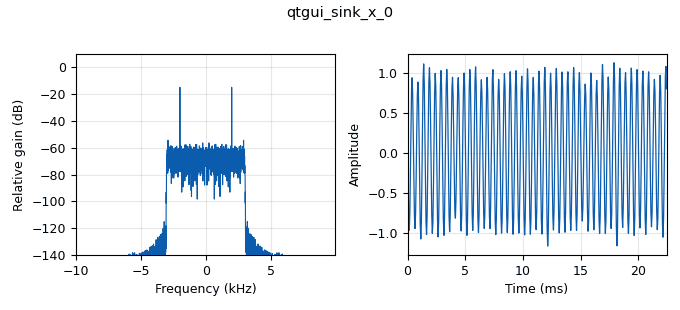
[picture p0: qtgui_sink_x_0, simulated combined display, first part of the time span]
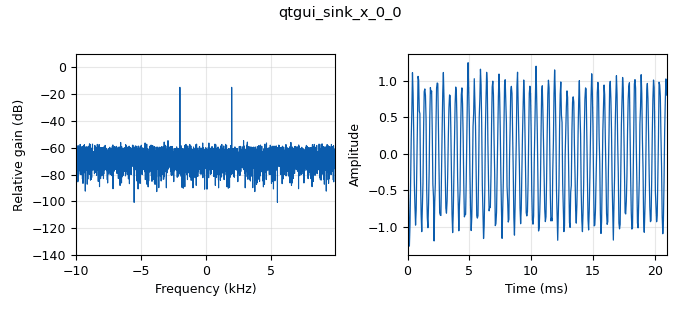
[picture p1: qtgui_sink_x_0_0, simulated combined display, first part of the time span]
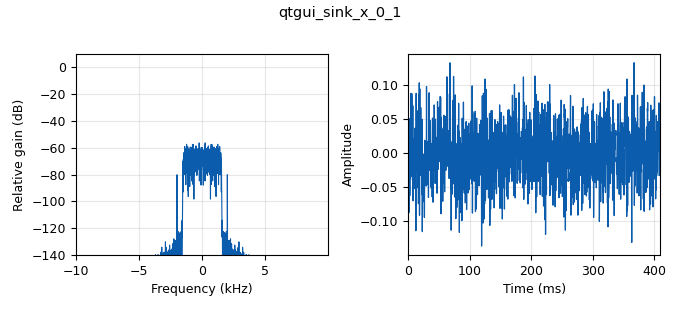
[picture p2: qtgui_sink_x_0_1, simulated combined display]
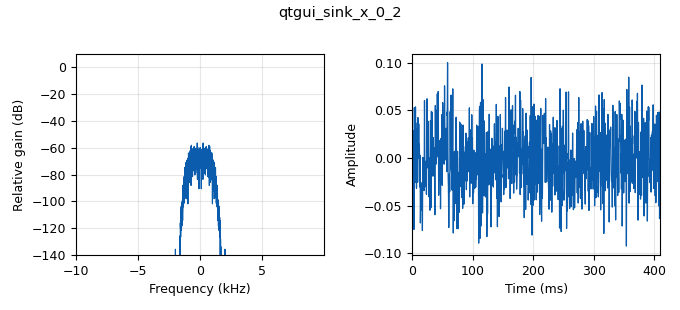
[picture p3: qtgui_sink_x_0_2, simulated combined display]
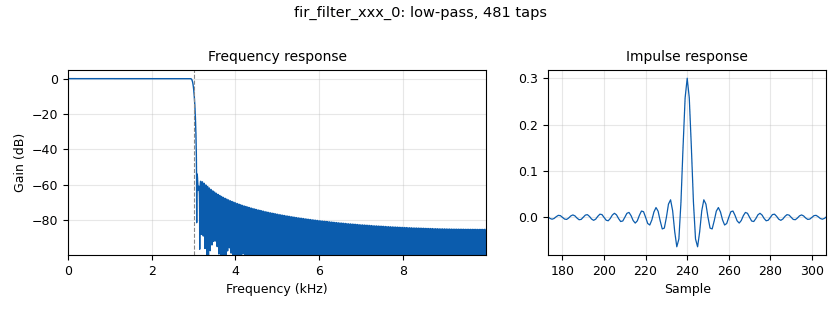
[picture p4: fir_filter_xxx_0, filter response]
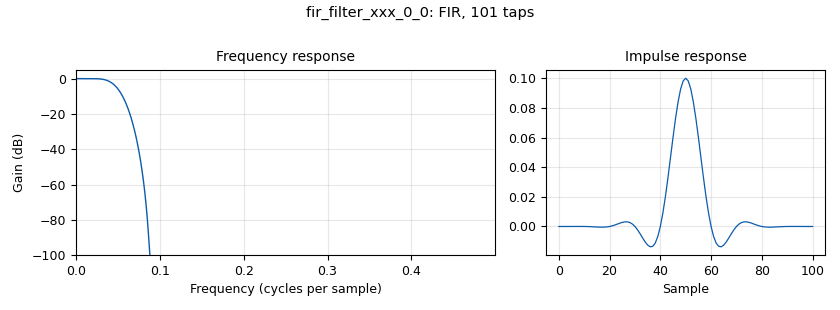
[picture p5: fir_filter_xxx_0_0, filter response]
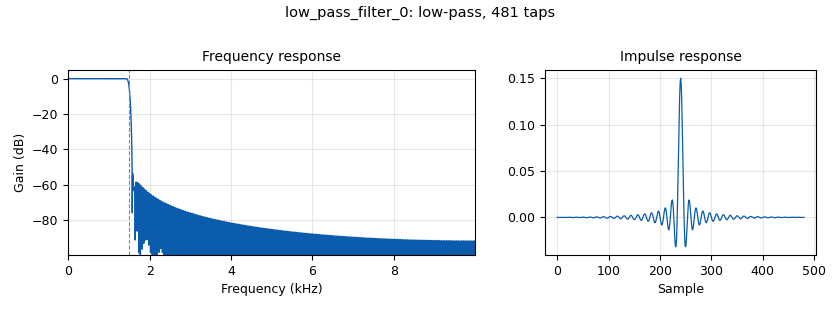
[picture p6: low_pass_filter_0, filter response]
options:
  parameters:
    generate_options: qt_gui
    id: rtl_receive
    output_language: python
    title: Not titled yet
  states: {}

blocks:
- name: Fc
  id: variable_qtgui_range
  parameters:
    label: Frequency Fc (Hz)
    orient: Qt.Horizontal
    start: '0'
    step: '1'
    stop: 4*samp_rate
    value: '2000'
  states: {}
- name: cutoff_freq
  id: variable
  parameters:
    value: 3e3
  states: {}
- name: noise_amp
  id: variable_qtgui_range
  parameters:
    orient: Qt.Horizontal
    start: '0'
    step: '0.001'
    stop: '1.0'
    value: '0.1'
  states: {}
- name: samp_rate
  id: variable
  parameters:
    value: 20e3
  states: {}
- name: transition_bw
  id: variable
  parameters:
    value: 0.1e3
  states: {}
- name: analog_noise_source_x_0
  id: analog_noise_source_x
  parameters:
    amp: noise_amp
    noise_type: analog.GR_GAUSSIAN
    seed: '0'
    type: float
  states: {}
- name: analog_sig_source_x_0
  id: analog_sig_source_x
  parameters:
    amp: '1'
    freq: Fc
    offset: '0'
    phase: '0'
    samp_rate: samp_rate
    type: float
    waveform: analog.GR_COS_WAVE
  states: {}
- name: blocks_add_xx_0
  id: blocks_add_xx
  parameters:
    type: float
  states: {}
- name: fir_filter_xxx_0
  id: fir_filter_xxx
  parameters:
    decim: '1'
    taps: firdes.low_pass(1, samp_rate, cutoff_freq, transition_bw)
    type: fff
  states: {}
- name: fir_filter_xxx_0_0
  id: fir_filter_xxx
  parameters:
    decim: '1'
    taps: '[2.338900265226065060e-22, 2.336196373874421645e-07, 1.137990713929966612e-06, 3.320500739926154766e-06, 7.178541790947223543e-06, 1.267015317588040384e-05, 1.902402261783776098e-05, 2.444958954365653391e-05, 2.595501861970046532e-05, 1.941136573988154414e-05, -4.281096255803112840e-20, -3.686395656888474007e-05, -9.413012595320489201e-05, -1.713609972540869125e-04, -2.629067385749667357e-04, -3.564225913698628118e-04, -4.322360040013248925e-04, -4.640770412296663506e-04, -4.215778504731435895e-04, -2.747126100926001731e-04, 4.015559995865015422e-19, 4.121347736859056875e-04, 9.498760443769086121e-04, 1.573808571988341782e-03, 2.213571887749250962e-03, 2.768910682562185886e-03, 3.116298444013859952e-03, 3.121651325905961533e-03, 2.658735080597373138e-03, 1.631808571198940794e-03, -1.504274108711267495e-18, -2.199938531045241442e-03, -4.836322578960977787e-03, -7.674438387210765627e-03, -1.038075277202057251e-02, -1.254125425680609890e-02, -1.369399035769461662e-02, -1.337382750481876971e-02, -1.116542563356441586e-02, -6.758706001177846624e-03, 3.094495681024556746e-18, 9.068166604915894186e-03, 2.018495278196710818e-02, 3.287133578407466783e-02, 4.645459143598253127e-02, 6.011622758700453650e-02, 7.295940329274590297e-02, 8.408914102100295551e-02, 9.269667005389173320e-02, 9.813833978263421243e-02, 9.999987881987924820e-02, 9.813833978263421243e-02, 9.269667005389173320e-02, 8.408914102100294163e-02, 7.295940329274588909e-02, 6.011622758700450875e-02, 4.645459143598251045e-02, 3.287133578407466089e-02, 2.018495278196710124e-02, 9.068166604915890716e-03, 3.094495681024555976e-18, -6.758706001177840553e-03, -1.116542563356441239e-02, -1.337382750481876624e-02, -1.369399035769460968e-02, -1.254125425680609890e-02, -1.038075277202056036e-02, -7.674438387210760423e-03, -4.836322578960970849e-03, -2.199938531045240141e-03, -1.504274108711267495e-18, 1.631808571198939059e-03, 2.658735080597371837e-03, 3.121651325905956762e-03, 3.116298444013857784e-03, 2.768910682562185019e-03, 2.213571887749247492e-03, 1.573808571988340914e-03, 9.498760443769067689e-04, 4.121347736859051454e-04, 4.015559995865015422e-19, -2.747126100925996310e-04, -4.215778504731435895e-04, -4.640770412296650496e-04, -4.322360040013238625e-04, -3.564225913698612939e-04, -2.629067385749663563e-04, -1.713609972540869125e-04, -9.413012595320436346e-05, -3.686395656888471974e-05, -4.281096255803086961e-20, 1.941136573988152042e-05, 2.595501861970046532e-05, 2.444958954365625270e-05, 1.902402261783791684e-05, 1.267015317588009721e-05, 7.178541790947315023e-06, 3.320500739926154766e-06, 1.137990713929905837e-06, 2.336196373874351765e-07, 2.338900265226065060e-22, ]'
    type: fff
  states: {}
- name: low_pass_filter_0
  id: low_pass_filter
  parameters:
    cutoff_freq: '1500'
    decim: '1'
    gain: '1'
    samp_rate: samp_rate
    type: fir_filter_fff
    width: '100'
    win: firdes.WIN_HAMMING
  states: {}
- name: qtgui_sink_x_0
  id: qtgui_sink_x
  parameters:
    bw: samp_rate
    fc: '0'
    fftsize: 1024*8
    type: float
    wintype: firdes.WIN_BLACKMAN_hARRIS
  states: {}
- name: qtgui_sink_x_0_0
  id: qtgui_sink_x
  parameters:
    bw: samp_rate
    fc: '0'
    fftsize: 1024*8
    type: float
    wintype: firdes.WIN_BLACKMAN_hARRIS
  states: {}
- name: qtgui_sink_x_0_1
  id: qtgui_sink_x
  parameters:
    bw: samp_rate
    fc: '0'
    fftsize: 1024*8
    type: float
    wintype: firdes.WIN_BLACKMAN_hARRIS
  states: {}
- name: qtgui_sink_x_0_2
  id: qtgui_sink_x
  parameters:
    bw: samp_rate
    fc: '0'
    fftsize: 1024*8
    type: float
    wintype: firdes.WIN_BLACKMAN_hARRIS
  states: {}

connections:
- [analog_noise_source_x_0, '0', blocks_add_xx_0, '1']
- [analog_sig_source_x_0, '0', blocks_add_xx_0, '0']
- [blocks_add_xx_0, '0', fir_filter_xxx_0, '0']
- [blocks_add_xx_0, '0', fir_filter_xxx_0_0, '0']
- [blocks_add_xx_0, '0', low_pass_filter_0, '0']
- [blocks_add_xx_0, '0', qtgui_sink_x_0_0, '0']
- [fir_filter_xxx_0, '0', qtgui_sink_x_0, '0']
- [fir_filter_xxx_0_0, '0', qtgui_sink_x_0_2, '0']
- [low_pass_filter_0, '0', qtgui_sink_x_0_1, '0']

metadata:
  file_format: 1
